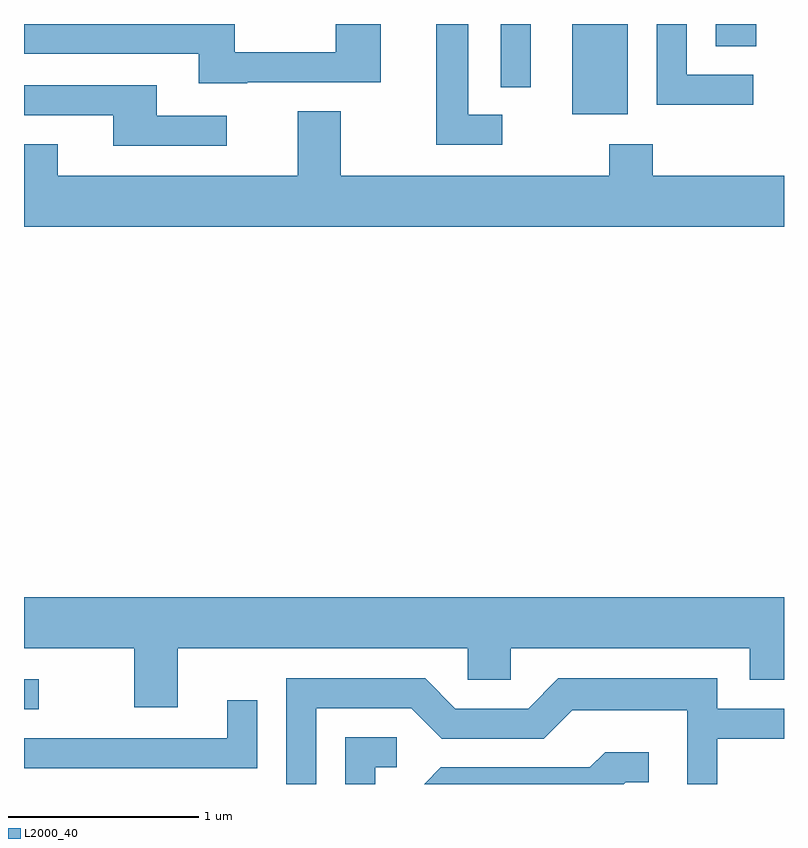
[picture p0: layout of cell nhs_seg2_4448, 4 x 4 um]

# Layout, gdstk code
import gdstk
lib = gdstk.Library(unit=1e-6, precision=1e-09)
def R(c, l, rs):  # rectangles x0, y0, x1, y1
    for r in rs: c.add(gdstk.rectangle(r[:2], r[2:], *l))
def P(c, l, *ps):  # polygons
    for p in ps: c.add(gdstk.Polygon(p, *l))
L2000_40 = (2000, 40)

nhs_seg2_4448 = lib.new_cell('nhs_seg2_4448')
R(nhs_seg2_4448, L2000_40, [(315.611,1070.196,315.688,1070.354), (318.496,1073.326,318.789,1073.802), (318.121,1073.468,318.279,1073.802), (319.251,1073.686,319.464,1073.802)])
P(nhs_seg2_4448, L2000_40, [(318.128,1073.324),(317.949,1073.324),(317.949,1073.802),(317.781,1073.802),(317.781,1073.166),(318.128,1073.166)],
  [(316.785,1073.496),(317.489,1073.496),(317.489,1073.802),(317.251,1073.802),(317.251,1073.654),(316.719,1073.654),(316.719,1073.802),(315.611,1073.802),(315.611,1073.646),(316.531,1073.646),(316.531,1073.491),(316.785,1073.491)],
  [(319.448,1073.534),(319.099,1073.534),(319.099,1073.802),(318.941,1073.802),(318.941,1073.376),(319.448,1073.376)],
  [(316.678,1073.319),(316.309,1073.319),(316.309,1073.479),(315.611,1073.479),(315.611,1073.321),(316.081,1073.321),(316.081,1073.161),(316.678,1073.161)],
  [(319.611,1073.004),(318.919,1073.004),(318.919,1073.169),(318.691,1073.169),(318.691,1073.004),(317.279,1073.004),(317.279,1073.344),(317.051,1073.344),(317.051,1073.004),(315.789,1073.004),(315.789,1073.169),(315.611,1073.169),(315.611,1072.736),(319.611,1072.736)],
  [(315.611,1070.516),(316.191,1070.516),(316.191,1070.206),(316.419,1070.206),(316.419,1070.516),(317.946,1070.516),(317.946,1070.351),(318.174,1070.351),(318.174,1070.516),(319.431,1070.516),(319.431,1070.351),(319.611,1070.351),(319.611,1070.784),(315.611,1070.784)],
  [(317.149,1070.201),(317.649,1070.201),(317.809,1070.041),(318.347,1070.041),(318.497,1070.191),(319.101,1070.191),(319.101,1069.802),(319.259,1069.802),(319.259,1070.041),(319.611,1070.041),(319.611,1070.199),(319.259,1070.199),(319.259,1070.359),(318.424,1070.359),(318.264,1070.199),(317.882,1070.199),(317.722,1070.359),(316.991,1070.359),(316.991,1069.802),(317.149,1069.802)],
  [(316.839,1070.243),(316.681,1070.243),(316.681,1070.044),(315.611,1070.044),(315.611,1069.886),(316.839,1069.886)],
  [(317.459,1069.891),(317.573,1069.891),(317.573,1070.049),(317.301,1070.049),(317.301,1069.802),(317.459,1069.802)],
  [(318.777,1069.811),(318.898,1069.811),(318.898,1069.969),(318.669,1069.969),(318.589,1069.889),(317.804,1069.889),(317.717,1069.802),(318.768,1069.802)])

lib.write_gds('nhs_seg2_4448.gds')
